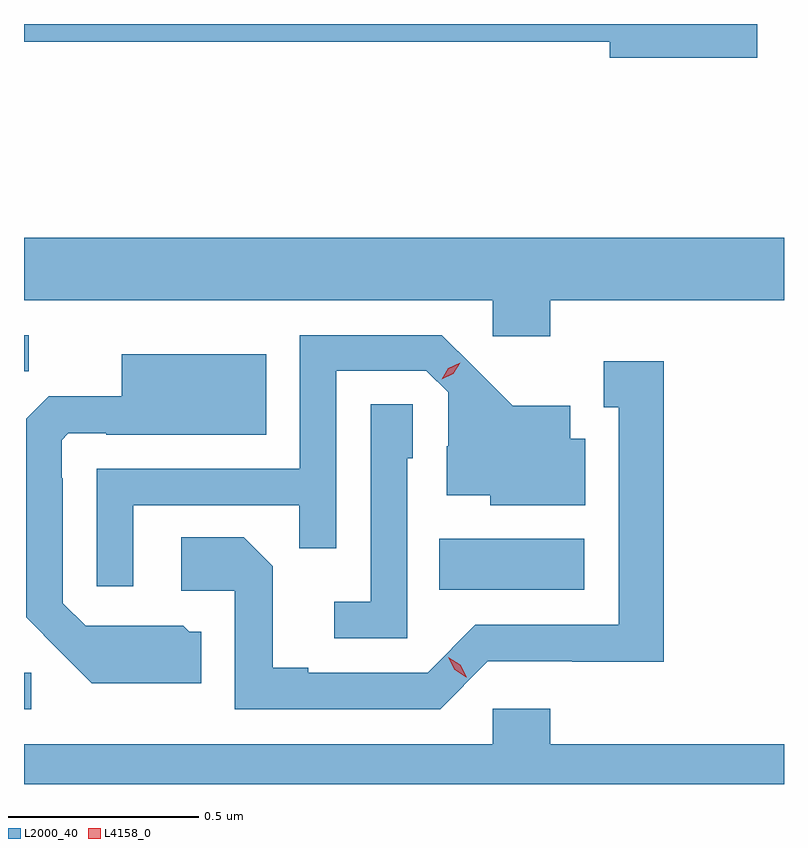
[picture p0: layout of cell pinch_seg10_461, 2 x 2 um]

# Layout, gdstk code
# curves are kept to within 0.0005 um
import gdstk
lib = gdstk.Library(unit=1e-6, precision=1e-09)
def R(c, l, rs):  # rectangles x0, y0, x1, y1
    for r in rs: c.add(gdstk.rectangle(r[:2], r[2:], *l))
def P(c, l, *ps):  # polygons
    for p in ps: c.add(gdstk.Polygon(p, *l))
L2000_40 = (2000, 40)
L4158_0 = (4158, 0)

pinch_seg10_461 = lib.new_cell('pinch_seg10_461')
R(pinch_seg10_461, L2000_40, [(359.829,1296.576,359.848,1296.672), (360.922,1296.89,361.303,1297.024), (359.829,1297.465,359.841,1297.56)])
P(pinch_seg10_461, L2000_40, [(361.759,1298.379),(359.829,1298.379),(359.829,1298.332),(361.37,1298.332),(361.37,1298.29),(361.759,1298.29)],
  [(361.214,1297.652),(361.829,1297.652),(361.829,1297.816),(359.829,1297.816),(359.829,1297.652),(361.062,1297.652),(361.062,1297.557),(361.214,1297.557)],
  [(360.117,1297.113),(360.553,1297.113),(360.553,1297),(360.651,1297),(360.651,1297.467),(360.888,1297.467),(360.945,1297.41),(360.945,1297.268),(360.941,1297.268),(360.941,1297.139),(361.056,1297.139),(361.056,1297.112),(361.306,1297.112),(361.306,1297.288),(361.267,1297.288),(361.267,1297.375),(361.115,1297.375),(360.928,1297.56),(360.555,1297.56),(360.555,1297.209),(360.021,1297.209),(360.021,1296.9),(360.117,1296.9)],
  [(360.295,1296.78),(360.264,1296.78),(360.248,1296.796),(360.114,1296.796),(360.114,1296.795),(359.991,1296.795),(359.931,1296.855),(359.931,1297.184),(359.928,1297.184),(359.928,1297.284),(359.946,1297.302),(360.046,1297.302),(360.046,1297.298),(360.466,1297.298),(360.466,1297.51),(360.086,1297.51),(360.086,1297.399),(359.894,1297.399),(359.835,1297.34),(359.835,1296.818),(360.007,1296.644),(360.295,1296.644)],
  [(361.05,1296.702),(361.272,1296.702),(361.272,1296.701),(361.513,1296.701),(361.513,1297.492),(361.355,1297.492),(361.355,1297.371),(361.394,1297.371),(361.394,1296.798),(361.017,1296.798),(360.891,1296.672),(360.577,1296.672),(360.577,1296.685),(360.483,1296.685),(360.483,1296.952),(360.407,1297.028),(360.243,1297.028),(360.243,1296.888),(360.384,1296.888),(360.384,1296.576),(360.924,1296.576)],
  [(360.837,1297.236),(360.852,1297.236),(360.852,1297.379),(360.741,1297.379),(360.741,1296.859),(360.645,1296.859),(360.645,1296.762),(360.837,1296.762)],
  [(361.829,1296.484),(361.214,1296.484),(361.214,1296.577),(361.062,1296.577),(361.062,1296.484),(359.829,1296.484),(359.829,1296.379),(361.829,1296.379)])
P(pinch_seg10_461, L4158_0, [(360.993,1296.66),(360.962,1296.68),(360.945,1296.713),(360.945,1296.713),(360.945,1296.713),(360.977,1296.693),(360.994,1296.66),(360.994,1296.66)],
  [(360.928,1297.444),(360.928,1297.444),(360.946,1297.473),(360.977,1297.487),(360.977,1297.487),(360.977,1297.487),(360.959,1297.458),(360.928,1297.444)])

lib.write_gds('pinch_seg10_461.gds')
